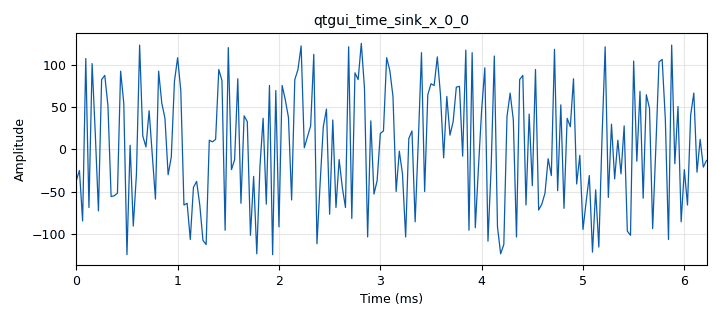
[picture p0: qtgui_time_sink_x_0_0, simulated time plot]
options:
  parameters:
    author: Hvozda Martin
    generate_options: qt_gui
    id: FirstFlowGraph
    output_language: python
    title: Starting point of semestral
  states: {}

blocks:
- name: delay
  id: variable_qtgui_range
  parameters:
    label: manual delay
    min_len: '1000'
    rangeType: int
    start: '0'
    step: '1'
    stop: '500'
    value: '0'
  states: {}
- name: samp_rate
  id: variable
  parameters:
    value: '32000'
  states: {}
- name: analog_random_source_x_0
  id: analog_random_source_x
  parameters:
    max: '256'
    min: '0'
    num_samps: '2000'
    repeat: 'True'
    type: byte
  states: {}
- name: blocks_char_to_float_0
  id: blocks_char_to_float
  parameters:
    scale: '1'
  states: {}
- name: blocks_char_to_float_1
  id: blocks_char_to_float
  parameters:
    scale: '1'
  states: {}
- name: blocks_delay_0
  id: blocks_delay
  parameters:
    delay: delay
    type: byte
  states: {}
- name: blocks_delay_1
  id: blocks_delay
  parameters:
    delay: '0'
    type: byte
  states: {}
- name: blocks_message_debug_0
  id: blocks_message_debug
  parameters: {}
  states: {}
- name: blocks_throttle_0
  id: blocks_throttle
  parameters:
    samples_per_second: samp_rate
    type: float
  states: {}
- name: epy_block_0
  id: epy_block
  parameters:
    _source_code: "\"\"\"\nEmbedded Python Blocks:\n\nEach time this file is saved, GRC will instantiate the first class it finds\nto get ports and parameters of your block. The arguments to __init__  will\nbe the parameters. All of them are required to have default values!\n\"\"\"\n\nimport numpy as np\nimport pmt\nfrom gnuradio import gr\n\n\nclass blk(gr.sync_block):  # other base classes are basic_block, decim_block, interp_block\n    \"\"\"Embedded Python Block example - a simple multiply const\"\"\"\n\n    def __init__(self):  # only default arguments here\n        \"\"\"arguments to this function show up as parameters in GRC\"\"\"\n        gr.sync_block.__init__(\n            self,\n            name='Custom Difference Block',   # so we may modify it if needed\n            in_sig=[np.float32, np.float32],\n            out_sig=[np.float32] \n        )\n        self.message_port_register_out(pmt.intern(\"delay_msg\"))\n\n    def work(self, input_items, output_items):\n        \"\"\"example: multiply with constant\"\"\"\n       \tmain_stream = input_items[0]\n        delay_stream = input_items[1]\n        \n        #when you multiply the arrays, one \"rotates\"\n        correlation = np.correlate(main_stream, delay_stream, mode='full')\n        u_index = np.argmax(correlation)\n        \n        delay = u_index - (len(delay_stream) - 1)\n        # bug fix ----- random source samples na 2k, nakolko sa rozdeluju na dva prudy moze\n        # blbnut\n        msg = pmt.cons(pmt.PMT_NIL, pmt.from_long(delay))\n        self.message_port_pub(pmt.intern(\"delay_msg\"), msg)\n        \n        print(\"delay value:\", delay)\n\t\n        output_items[0][:] = np.full_like(output_items[0], delay)\n        return len(output_items[0])\n        \n"
  states: {}
- name: qtgui_time_sink_x_0
  id: qtgui_time_sink_x
  parameters:
    autoscale: 'True'
    size: '1000'
    srate: samp_rate
    type: float
    ylabel: Delay
  states: {}
- name: qtgui_time_sink_x_0_0
  id: qtgui_time_sink_x
  parameters:
    autoscale: 'True'
    size: '200'
    srate: samp_rate
    type: float
  states: {}

connections:
- [analog_random_source_x_0, '0', blocks_delay_0, '0']
- [analog_random_source_x_0, '0', blocks_delay_1, '0']
- [blocks_char_to_float_0, '0', epy_block_0, '0']
- [blocks_char_to_float_1, '0', epy_block_0, '1']
- [blocks_char_to_float_1, '0', qtgui_time_sink_x_0_0, '0']
- [blocks_delay_0, '0', blocks_char_to_float_1, '0']
- [blocks_delay_1, '0', blocks_char_to_float_0, '0']
- [blocks_throttle_0, '0', qtgui_time_sink_x_0, '0']
- [epy_block_0, '0', blocks_throttle_0, '0']

metadata:
  file_format: 1
